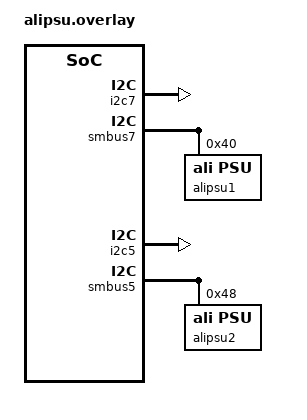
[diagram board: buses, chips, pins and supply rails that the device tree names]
/*
 * Copyright (c) 2018 Jan Van Winkel <jan.van_winkel@dxplore.eu>
 *
 * SPDX-License-Identifier: Apache-2.0
 */

&i2c7 {
    status = "okay";
    //clock-frequency = <100000>;
    bus-frequency = <100000>;
};

&smbus7 {
    status = "okay";
    
    alipsu1: alipsu@40 {
        compatible = "ali,psu";
        reg = <0x40>;
        status = "okay";
        smbus-max-frequency = <100000>;
    };
};

&i2c5 {
    status = "okay";
    //clock-frequency = <100000>;
    bus-frequency = <100000>;
};

&smbus5 {
    status = "okay";
    
    alipsu2: alipsu@48 {
        compatible = "ali,psu";
        reg = <0x48>;
        status = "okay";
        smbus-max-frequency = <100000>;
    };
};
